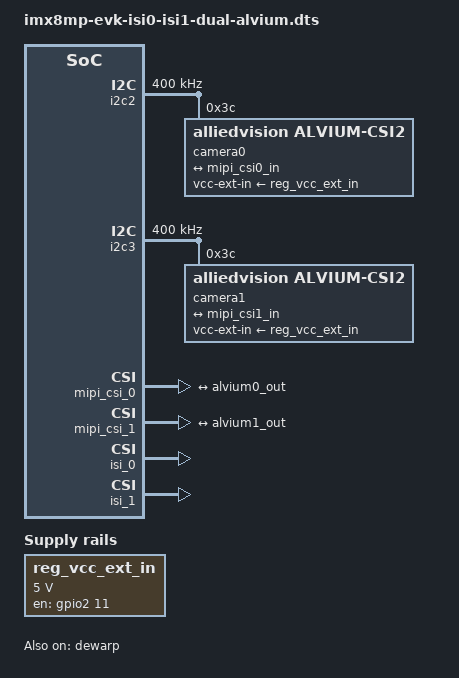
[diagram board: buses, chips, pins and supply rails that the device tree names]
/dts-v1/;
/plugin/;

#include <dt-bindings/clock/imx8mp-clock.h>
#include <dt-bindings/gpio/gpio.h>
#include "imx8mp-pinfunc.h"

/ {
	fragment@0 {
		target = <&iomuxc>;
		__overlay__ {

			pinctrl_csi0_pwn: csi0_pwn_grp {
				fsl,pins = <
					MX8MP_IOMUXC_SD1_STROBE__GPIO2_IO11	0x19
				>;
			};

			pinctrl_i2c2: i2c2grp {
				fsl,pins = <
					MX8MP_IOMUXC_I2C2_SCL__I2C2_SCL		0x400001c3
					MX8MP_IOMUXC_I2C2_SDA__I2C2_SDA		0x400001c3
				>;
			};
		};
	};

	fragment@1 {
		target-path = "/";
		__overlay__ {
			reg_vcc_ext_in: regulator-vcc-ext-in {
				compatible = "regulator-fixed";
				regulator-name = "vcc-ext-in";
				pinctrl-names = "default";
				pinctrl-0 = <&pinctrl_csi0_pwn>;
				regulator-min-microvolt = <5000000>;
				regulator-max-microvolt = <5000000>;
				gpio = <&gpio2 11 GPIO_ACTIVE_HIGH>;
				enable-active-high;
			};
		};
	};

	fragment@2 {
		target = <&i2c2>;
		__overlay__ {
			#address-cells = <1>;
			#size-cells = <0>;
			clock-frequency = <400000>;
			pinctrl-names = "default";
			pinctrl-0 = <&pinctrl_i2c2>;
			status = "okay";

			/delete-node/ov5640_mipi@3c;

			camera0: alvium@3c {
				compatible = "alliedvision,alvium-csi2";
				reg = <0x3c>;
				vcc-ext-in-supply = <&reg_vcc_ext_in>;
				alliedvision,lp2hs-delay-us = <80>;
				status = "okay";

				csi_id = <0>;
				mclk = <24000000>;
				mclk_source = <0>;

				port {
					alvium0_out: endpoint {
						remote-endpoint = <&mipi_csi0_in>;
						data-lanes = <1 2 3 4>;
						link-frequencies = /bits/ 64 <681250000>;
						clock-lanes = <0>;
					};
				};
			};
		};
	};

	fragment@3 {
		target = <&i2c3>;
		__overlay__ {
			#address-cells = <1>;
			#size-cells = <0>;
			clock-frequency = <400000>;
			pinctrl-names = "default";
			pinctrl-0 = <&pinctrl_i2c3>;
			status = "okay";

			/delete-node/ov5640_mipi@3c;

			camera1: alvium@3c {
				compatible = "alliedvision,alvium-csi2";
				reg = <0x3c>;
				vcc-ext-in-supply = <&reg_vcc_ext_in>;
				alliedvision,lp2hs-delay-us = <80>;
				status = "okay";

				csi_id = <1>;
				mclk = <24000000>;
				mclk_source = <0>;

				port {
					alvium1_out: endpoint {
						remote-endpoint = <&mipi_csi1_in>;
						data-lanes = <1 2 3 4>;
						link-frequencies = /bits/ 64 <681250000>;
						clock-lanes = <0>;
					};
				};
			};
		};
	};

	fragment@4 {
		target = <&mipi_csi_0>;
		__overlay__ {
			clock-frequency = <681250000>;
			assigned-clock-rates = <500000000>;
			status = "okay";
			data-lanes = <4>;

			port@0 {
				mipi_csi0_in: endpoint {
					remote-endpoint = <&alvium0_out>;
					data-lanes = <4>;
					csis-hs-settle = <14>;
					csis-clk-settle = <2>;
					csis-wclk;
				};
			};
		};
	};

	fragment@5 {
		target = <&mipi_csi_1>;
		__overlay__ {
			clock-frequency = <681250000>;
			assigned-clock-rates = <500000000>;
			status = "okay";
			data-lanes = <4>;

			port@1 {
				mipi_csi1_in: endpoint {
					remote-endpoint = <&alvium1_out>;
					data-lanes = <4>;
					csis-hs-settle = <14>;
					csis-clk-settle = <2>;
					csis-wclk;
				};
			};
		};
	};

	fragment@6 {
		target = <&isi_0>;
		__overlay__ {
			status = "okay";

			disable_resolution_check;
			dma-coherent;

			cap_device {
				status = "okay";
			};

			m2m_device {
				status = "okay";
			};
		};
	};

	fragment@7 {
		target = <&isi_1>;
		__overlay__ {
			status = "okay";

			disable_resolution_check;
			dma-coherent;

			cap_device {
				status = "okay";
			};

			m2m_device {
				status = "okay";
			};
		};
	};

	fragment@8 {
		target = <&isp_0>;
		__overlay__ {
			status = "disabled";
		};
	};

	fragment@9 {
		target = <&isp_1>;
		__overlay__ {
			status = "disabled";
		};
	};

	fragment@10 {
		target = <&dewarp>;
		__overlay__ {
			status = "okay";
		};
	};
};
